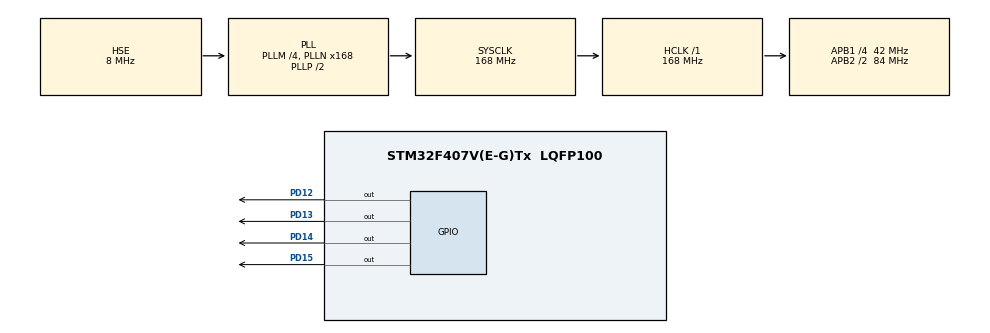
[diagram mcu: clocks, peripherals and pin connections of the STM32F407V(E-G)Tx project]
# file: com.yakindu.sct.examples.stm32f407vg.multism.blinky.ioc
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Mcu.Family=STM32F4
Mcu.Name=STM32F407V(E-G)Tx
Mcu.Package=LQFP100
NVIC.PriorityGroup=NVIC_PRIORITYGROUP_4
NVIC.TIM5_IRQn=true\:0\:0\:false\:false\:true\:true\:true
PD12.Signal=GPIO_Output
PD13.Signal=GPIO_Output
PD14.Signal=GPIO_Output
PD15.Signal=GPIO_Output
PH0-OSC_IN.Mode=HSE-External-Oscillator
PH0-OSC_IN.Signal=RCC_OSC_IN
PH1-OSC_OUT.Mode=HSE-External-Oscillator
PH1-OSC_OUT.Signal=RCC_OSC_OUT
ProjectManager.HeapSize=0x200
ProjectManager.StackSize=0x400
ProjectManager.TargetToolchain=STM32CubeIDE
RCC.48MHZClocksFreq_Value=84000000
RCC.AHBFreq_Value=168000000
RCC.APB1CLKDivider=RCC_HCLK_DIV4
RCC.APB1Freq_Value=42000000
RCC.APB1TimFreq_Value=84000000
RCC.APB2CLKDivider=RCC_HCLK_DIV2
RCC.APB2Freq_Value=84000000
RCC.APB2TimFreq_Value=168000000
RCC.CortexFreq_Value=168000000
RCC.HCLKFreq_Value=168000000
RCC.HSE_VALUE=8000000
RCC.HSI_VALUE=16000000
RCC.LSE_VALUE=32768
RCC.PLLM=4
RCC.PLLN=168
RCC.PLLSourceVirtual=RCC_PLLSOURCE_HSE
RCC.SYSCLKFreq_VALUE=168000000
RCC.SYSCLKSource=RCC_SYSCLKSOURCE_PLLCLK
RCC.VCOOutputFreq_Value=336000000
TIM5.Period=41999
TIM5.Prescaler=1
VP_TIM5_VS_ClockSourceINT.Mode=Internal
board=custom

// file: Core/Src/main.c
/* USER CODE BEGIN Header */
/**
  ******************************************************************************
  * @file           : main.c
  * @brief          : Main program body
  ******************************************************************************
  * @attention
  *
  * <h2><center>&copy; Copyright (c) 2020 STMicroelectronics.
  * All rights reserved.</center></h2>
  *
  * This software component is licensed by ST under BSD 3-Clause license,
  * the "License"; You may not use this file except in compliance with the
  * License. You may obtain a copy of the License at:
  *                        opensource.org/licenses/BSD-3-Clause
  *
  ******************************************************************************
  */
/* USER CODE END Header */

#include "main.h"

/* USER CODE BEGIN Includes */
#include "Controller_required.h"
#include "LED.h"
#include "sc_timer_service.h"

/* USER CODE END Includes */

/* USER CODE BEGIN PTD */
#define MAX_TIMERS 20
#define TICK_MS 1
/* USER CODE END PTD */

TIM_HandleTypeDef htim5;

/* USER CODE BEGIN PV */
Controller sm;
LED green;
LED orange;
LED red;
LED blue;

static sc_timer_t timers[MAX_TIMERS];
static sc_timer_service_t timer_service;

/* USER CODE END PV */

void SystemClock_Config(void);
static void MX_GPIO_Init(void);
static void MX_TIM5_Init(void);

int main(void)
{

  /* MCU Configuration--------------------------------------------------------*/

  /* Reset of all peripherals, Initializes the Flash interface and the Systick. */
  HAL_Init();

  /* Configure the system clock */
  SystemClock_Config();

  /* Initialize all configured peripherals */
  MX_GPIO_Init();
  MX_TIM5_Init();
  /* USER CODE BEGIN 2 */
  HAL_TIM_Base_Start_IT(&htim5);
  sc_timer_service_init(&timer_service, timers, MAX_TIMERS, (sc_raise_time_event_fp) &controller_raise_time_event);

  lED_init(&green);
  lED_init(&orange);
  lED_init(&red);
  lED_init(&blue);

  controller_init(&sm);

  controller_set_green(&sm, &green);
  controller_set_orange(&sm, &orange);
  controller_set_red(&sm, &red);
  controller_set_blue(&sm, &blue);

  controller_enter(&sm);
  /* USER CODE END 2 */

  /* Infinite loop */
  while (1)
  {

  }
}

void SystemClock_Config(void)
{
  RCC_OscInitTypeDef RCC_OscInitStruct = {0};
  RCC_ClkInitTypeDef RCC_ClkInitStruct = {0};

  /** Configure the main internal regulator output voltage
  */
  __HAL_RCC_PWR_CLK_ENABLE();
  __HAL_PWR_VOLTAGESCALING_CONFIG(PWR_REGULATOR_VOLTAGE_SCALE1);
  /** Initializes the CPU, AHB and APB busses clocks
  */
  RCC_OscInitStruct.OscillatorType = RCC_OSCILLATORTYPE_HSE;
  RCC_OscInitStruct.HSEState = RCC_HSE_ON;
  RCC_OscInitStruct.PLL.PLLState = RCC_PLL_ON;
  RCC_OscInitStruct.PLL.PLLSource = RCC_PLLSOURCE_HSE;
  RCC_OscInitStruct.PLL.PLLM = 4;
  RCC_OscInitStruct.PLL.PLLN = 168;
  RCC_OscInitStruct.PLL.PLLP = RCC_PLLP_DIV2;
  RCC_OscInitStruct.PLL.PLLQ = 4;
  if (HAL_RCC_OscConfig(&RCC_OscInitStruct) != HAL_OK)
  {
    Error_Handler();
  }
  /** Initializes the CPU, AHB and APB busses clocks
  */
  RCC_ClkInitStruct.ClockType = RCC_CLOCKTYPE_HCLK|RCC_CLOCKTYPE_SYSCLK
                              |RCC_CLOCKTYPE_PCLK1|RCC_CLOCKTYPE_PCLK2;
  RCC_ClkInitStruct.SYSCLKSource = RCC_SYSCLKSOURCE_PLLCLK;
  RCC_ClkInitStruct.AHBCLKDivider = RCC_SYSCLK_DIV1;
  RCC_ClkInitStruct.APB1CLKDivider = RCC_HCLK_DIV4;
  RCC_ClkInitStruct.APB2CLKDivider = RCC_HCLK_DIV2;

  if (HAL_RCC_ClockConfig(&RCC_ClkInitStruct, FLASH_LATENCY_5) != HAL_OK)
  {
    Error_Handler();
  }
}

static void MX_TIM5_Init(void)
{

  TIM_ClockConfigTypeDef sClockSourceConfig = {0};
  TIM_MasterConfigTypeDef sMasterConfig = {0};

  htim5.Instance = TIM5;
  htim5.Init.Prescaler = 1;
  htim5.Init.CounterMode = TIM_COUNTERMODE_UP;
  htim5.Init.Period = 41999;
  htim5.Init.ClockDivision = TIM_CLOCKDIVISION_DIV1;
  htim5.Init.AutoReloadPreload = TIM_AUTORELOAD_PRELOAD_DISABLE;
  if (HAL_TIM_Base_Init(&htim5) != HAL_OK)
  {
    Error_Handler();
  }
  sClockSourceConfig.ClockSource = TIM_CLOCKSOURCE_INTERNAL;
  if (HAL_TIM_ConfigClockSource(&htim5, &sClockSourceConfig) != HAL_OK)
  {
    Error_Handler();
  }
  sMasterConfig.MasterOutputTrigger = TIM_TRGO_RESET;
  sMasterConfig.MasterSlaveMode = TIM_MASTERSLAVEMODE_DISABLE;
  if (HAL_TIMEx_MasterConfigSynchronization(&htim5, &sMasterConfig) != HAL_OK)
  {
    Error_Handler();
  }

}

static void MX_GPIO_Init(void)
{
  GPIO_InitTypeDef GPIO_InitStruct = {0};

  /* GPIO Ports Clock Enable */
  __HAL_RCC_GPIOH_CLK_ENABLE();
  __HAL_RCC_GPIOD_CLK_ENABLE();

  /*Configure GPIO pin Output Level */
  HAL_GPIO_WritePin(GPIOD, GPIO_PIN_12|GPIO_PIN_13|GPIO_PIN_14|GPIO_PIN_15, GPIO_PIN_RESET);

  /*Configure GPIO pins : PD12 PD13 PD14 PD15 */
  GPIO_InitStruct.Pin = GPIO_PIN_12|GPIO_PIN_13|GPIO_PIN_14|GPIO_PIN_15;
  GPIO_InitStruct.Mode = GPIO_MODE_OUTPUT_PP;
  GPIO_InitStruct.Pull = GPIO_NOPULL;
  GPIO_InitStruct.Speed = GPIO_SPEED_FREQ_LOW;
  HAL_GPIO_Init(GPIOD, &GPIO_InitStruct);

}

/* USER CODE BEGIN 4 */
void HAL_TIM_PeriodElapsedCallback(TIM_HandleTypeDef* htim) {
	if(htim->Instance == htim5.Instance) {
		sc_timer_service_proceed(&timer_service, TICK_MS);
	}
}

void controller_set_timer(Controller* handle, const sc_eventid evid, const sc_integer time_ms, const sc_boolean periodic){
	sc_timer_start(&timer_service, (void*) handle, evid, time_ms, periodic);
}
void controller_unset_timer(Controller* handle, const sc_eventid evid){
	sc_timer_cancel(&timer_service, evid);
	(void) handle;
}

/* USER CODE END 4 */

void Error_Handler(void)
{
}

/************************ (C) COPYRIGHT STMicroelectronics *****END OF FILE****/
